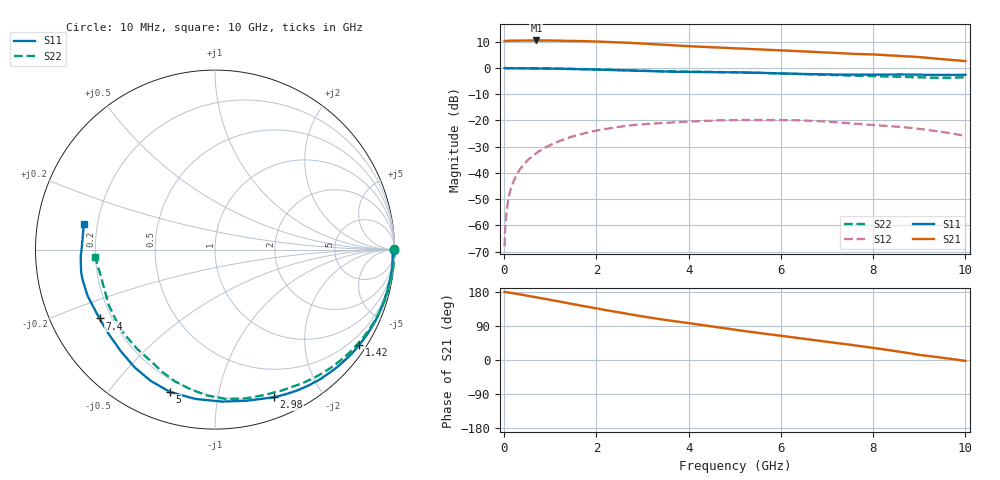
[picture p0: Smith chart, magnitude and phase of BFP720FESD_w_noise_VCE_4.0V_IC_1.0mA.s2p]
! Infineon Technologies  Discrete & RF Semiconductors
! BFP720FESD
! VCE =  4.0 V,  IC =  1.0 mA
! Common Emitter S-Parameters:  Jan 2016
# GHz  S  MA  R  50
!  f  S11  S21  S12  S22
! GHz  MAG  ANG  MAG  ANG  MAG  ANG  MAG  ANG
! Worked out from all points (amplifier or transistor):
!   233 points, 10 MHz to 10 GHz, reference 50 ohm
!   highest |S21| = 10.5 dB at 700 MHz (marker M1)
!   |S21| within 3 dB of that: start of sweep to 5.012 GHz
!   unconditionally stable (mu >= 1): 9.157 GHz to end of sweep
!   at 200 MHz: K = 0.02, MSG = 27.0 dB, |S12| = -43.5 dB
!   at 1.74 GHz: K = 0.08, MSG = 17.6 dB, |S12| = -24.9 dB
!   at 10 GHz: K = 1.46, MAG = 10.2 dB, |S12| = -25.8 dB
!   lowest NFmin = 0.46 dB at 450 MHz
!   S11 on the Smith chart (normalised r, x): 10 MHz: open; 1.42 GHz: 0.23, -3.32; 2.98 GHz: 0.19, -1.46; 5 GHz: 0.14, -0.72; 7.4 GHz: 0.15, -0.27; 10 GHz: 0.15, +0.10
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0.01  1 -0.2  3.317 179.3  0.0004 32.0  0.9974 0.1
0.02  0.9918 -0.4  3.294 179.8  0.0008 56.0  0.999 -0.3
0.055  0.9908 -1.1  3.295 178.8  0.0019 82.3  0.9991 -1.0
0.09  0.9903 -2.0  3.318 178.4  0.0031 86.0  0.9992 -1.6
0.155  0.9908 -3.7  3.335 177.1  0.0053 85.6  0.999 -2.8
0.38  0.9896 -8.8  3.353 172.3  0.013 82.7  0.9972 -6.9
0.7  0.9846 -16.4  3.367 165.3  0.0239 76.9  0.9918 -12.8
1  0.9776 -23.4  3.354 158.8  0.034 71.3  0.9839 -18.5
1.42  0.9628 -33.4  3.319 149.1  0.0477 63.0  0.9689 -26.6
1.68  0.9529 -39.4  3.282 143.2  0.0553 57.7  0.9574 -31.6
2.4  0.9192 -55.5  3.122 127.5  0.0737 44.0  0.9223 -45.5
2.98  0.8857 -68.2  2.945 115.3  0.0847 33.2  0.891 -56.3
3.4  0.8629 -76.4  2.794 107.5  0.0894 26.4  0.8719 -62.9
4.5  0.8391 -97.5  2.508 88.7  0.0997 11.1  0.8461 -78.6
5  0.8318 -107.5  2.387 79.9  0.1021 3.7  0.8338 -86.1
5.1  0.8268 -109.2  2.36 78.3  0.1021 2.3  0.8289 -87.5
6  0.7942 -124.4  2.173 63.9  0.102 -10.1  0.7901 -99.9
6.8  0.7599 -138.4  2.019 51.1  0.0971 -21.0  0.7517 -110.6
7.4  0.749 -149.2  1.897 41.9  0.0895 -28.4  0.7232 -117.8
8.4  0.7568 -167.4  1.75 25.0  0.078 -38.0  0.6908 -137.1
9  0.7494 -176.9  1.623 13.6  0.0693 -44.9  0.668 -152.4
10  0.7447 168.8  1.36 -2.4  0.051 -51.7  0.6698 -176.6
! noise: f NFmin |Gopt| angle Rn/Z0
0.45  0.46  0.85  5  0.47
2.4  0.87  0.66  37  0.43
5.5  1.17  0.64  105  0.24
10  2.33  0.52  -167  0.14
